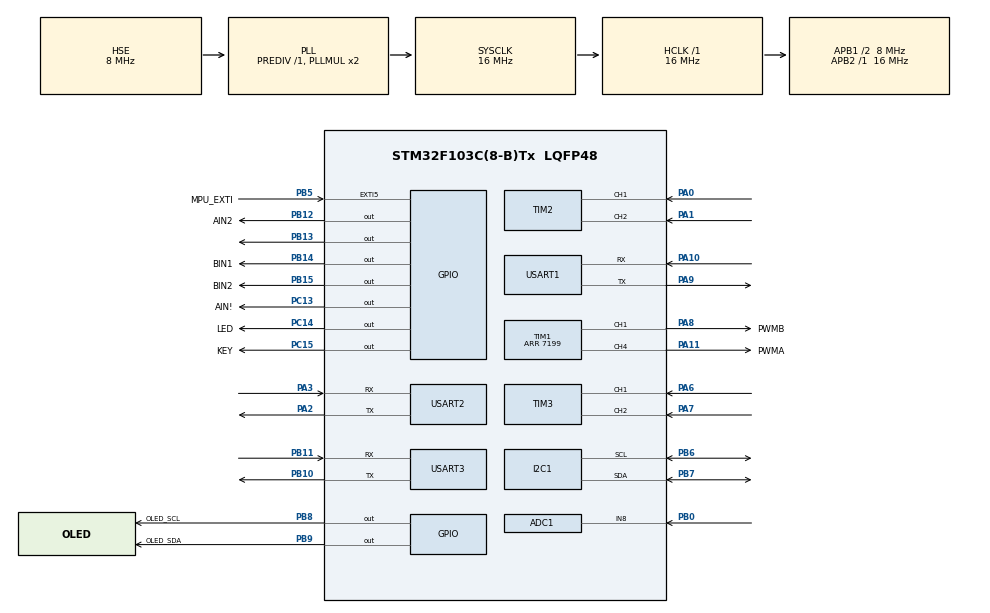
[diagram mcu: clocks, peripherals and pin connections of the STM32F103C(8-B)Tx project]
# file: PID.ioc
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ADC1.Channel-0\#ChannelRegularConversion=ADC_CHANNEL_8
ADC1.NbrOfConversionFlag=1
ADC1.Rank-0\#ChannelRegularConversion=1
ADC1.SamplingTime-0\#ChannelRegularConversion=ADC_SAMPLETIME_1CYCLE_5
ADC1.master=1
Mcu.Family=STM32F1
Mcu.Name=STM32F103C(8-B)Tx
Mcu.Package=LQFP48
NVIC.PriorityGroup=NVIC_PRIORITYGROUP_4
NVIC.USART2_IRQn=true\:0\:0\:false\:false\:true\:true\:true
PA0-WKUP.Signal=S_TIM2_CH1_ETR
PA1.Signal=S_TIM2_CH2
PA10.Mode=Asynchronous
PA10.Signal=USART1_RX
PA11.GPIO_Label=PWMA
PA11.Signal=S_TIM1_CH4
PA2.Mode=Asynchronous
PA2.Signal=USART2_TX
PA3.Mode=Asynchronous
PA3.Signal=USART2_RX
PA6.Signal=S_TIM3_CH1
PA7.Signal=S_TIM3_CH2
PA8.GPIO_Label=PWMB
PA8.Signal=S_TIM1_CH1
PA9.Mode=Asynchronous
PA9.Signal=USART1_TX
PB0.Signal=ADCx_IN8
PB10.Mode=Asynchronous
PB10.Signal=USART3_TX
PB11.Mode=Asynchronous
PB11.Signal=USART3_RX
PB12.GPIO_Label=AIN2
PB12.Signal=GPIO_Output
PB13.Signal=GPIO_Output
PB14.GPIO_Label=BIN1
PB14.Signal=GPIO_Output
PB15.GPIO_Label=BIN2
PB15.Signal=GPIO_Output
PB5.GPIO_Label=MPU_EXTI
PB5.Signal=GPXTI5
PB6.Mode=I2C
PB6.Signal=I2C1_SCL
PB7.Mode=I2C
PB7.Signal=I2C1_SDA
PB8.GPIO_Label=OLED_SCL
PB8.Signal=GPIO_Output
PB9.GPIO_Label=OLED_SDA
PB9.Signal=GPIO_Output
PC13-TAMPER-RTC.GPIO_Label=AIN\!
PC13-TAMPER-RTC.Signal=GPIO_Output
PC14-OSC32_IN.GPIO_Label=LED
PC14-OSC32_IN.Signal=GPIO_Output
PC15-OSC32_OUT.GPIO_Label=KEY
PC15-OSC32_OUT.Signal=GPIO_Output
PD0-OSC_IN.Mode=HSE-External-Oscillator
PD0-OSC_IN.Signal=RCC_OSC_IN
PD1-OSC_OUT.Mode=HSE-External-Oscillator
PD1-OSC_OUT.Signal=RCC_OSC_OUT
ProjectManager.HeapSize=0x200
ProjectManager.StackSize=0x400
ProjectManager.TargetToolchain=MDK-ARM V5.32
RCC.AHBFreq_Value=16000000
RCC.APB1CLKDivider=RCC_HCLK_DIV2
RCC.APB1Freq_Value=8000000
RCC.APB1TimFreq_Value=16000000
RCC.APB2Freq_Value=16000000
RCC.APB2TimFreq_Value=16000000
RCC.HCLKFreq_Value=16000000
RCC.PLLSourceVirtual=RCC_PLLSOURCE_HSE
RCC.SYSCLKFreq_VALUE=16000000
RCC.SYSCLKSource=RCC_SYSCLKSOURCE_PLLCLK
RCC.USBFreq_Value=16000000
SH.ADCx_IN8.0=ADC1_IN8,IN8
SH.S_TIM1_CH1.0=TIM1_CH1,PWM Generation1 CH1
SH.S_TIM1_CH4.0=TIM1_CH4,PWM Generation4 CH4
SH.S_TIM2_CH1_ETR.0=TIM2_CH1,Encoder_Interface
SH.S_TIM2_CH2.0=TIM2_CH2,Encoder_Interface
SH.S_TIM3_CH1.0=TIM3_CH1,Encoder_Interface
SH.S_TIM3_CH2.0=TIM3_CH2,Encoder_Interface
TIM1.Channel-PWM\ Generation1\ CH1=TIM_CHANNEL_1
TIM1.Channel-PWM\ Generation4\ CH4=TIM_CHANNEL_4
TIM1.Period=7199
TIM2.IC1Filter=10
TIM2.IC2Filter=10
USART1.VirtualMode=VM_ASYNC
USART2.VirtualMode=VM_ASYNC
USART3.VirtualMode=VM_ASYNC
VP_SYS_VS_ND.Mode=No_Debug
board=custom

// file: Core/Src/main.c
/* USER CODE BEGIN Header */
/**
  ******************************************************************************
  * @file           : main.c
  * @brief          : Main program body
  ******************************************************************************
  * @attention
  *
  * Copyright (c) 2023 STMicroelectronics.
  * All rights reserved.
  *
  * This software is licensed under terms that can be found in the LICENSE file
  * in the root directory of this software component.
  * If no LICENSE file comes with this software, it is provided AS-IS.
  *
  ******************************************************************************
  */
/* USER CODE END Header */
#include "main.h"

/* USER CODE BEGIN PV */
float BatteryVoltage;  															 //电池电压采样相关的变量
float pitch,roll,yaw; 								  			 //欧拉角(姿态角)
short aacx,aacy,aacz;													 //加速度传感器原始数据
short gyrox,gyroy,gyroz;											 //陀螺仪原始数据
int   Encoder_Left,Encoder_Right;         		 //左右编码器的脉冲计数
int 	Moto1=0,Moto2=0;												 //计算出来的最终赋给电机的PWM
int PWM_MAX=7200,PWM_MIN=-7200;	//PWM限幅变量
int Velocity=0,Turn=0;
uint8_t Mode=98;
int Uart_Receive=0;
uint8_t key=0;								 									 //按键的键值

int Balance_Pwm,Velocity_Pwm,Turn_Pwm;

float Mechanical_angle=0;

float balance_UP_KP=300; 	 // 小车直立环PD参数
float balance_UP_KD=1.9;

float velocity_KP=90;     // 小车速度环PI参数
float velocity_KI=0.45;

/* Private macro -------------------------------------------------------------*/
/* USER CODE BEGIN PM */

/* USER CODE END PM */

/* Private variables ---------------------------------------------------------*/

/* USER CODE BEGIN PV */
/**
  * 函数功能: 重定向c库函数printf到DEBUG_USARTx
  * 输入参数: 无
  * 返 回 值: 无
  * 说    明：如果程序上电不运行注意勾选魔术棒->Target-> Use Micro LIB
  */
int fputc(int ch, FILE *f)
{
  HAL_UART_Transmit(&huart1, (uint8_t *)&ch, 1, 0xffff);
  return ch;
}

/**
  * 函数功能: 重定向c库函数getchar,scanf到DEBUG_USARTx
  * 输入参数: 无
  * 返 回 值: 无
  * 说    明：如果程序上电不运行注意勾选魔术棒->Target-> Use Micro LIB
  */
int fgetc(FILE *f)
{
  uint8_t ch = 0;
  HAL_UART_Receive(&huart1, &ch, 1, 0xffff);
  return ch;
}

/* USER CODE END PV */

void SystemClock_Config(void);

int main(void)
{

  /* MCU Configuration--------------------------------------------------------*/

  /* Reset of all peripherals, Initializes the Flash interface and the Systick. */
  HAL_Init();

  /* Configure the system clock */
  SystemClock_Config();

  /* Initialize all configured peripherals */
  MX_GPIO_Init();
  MX_I2C1_Init();
  MX_TIM1_Init();
  MX_TIM2_Init();
  MX_TIM3_Init();
  MX_USART1_UART_Init();
  MX_USART2_UART_Init();
  MX_USART3_UART_Init();
  MX_ADC1_Init();
  /* USER CODE BEGIN 2 */
//	HAL_TIM_Base_Start_IT(&htim1);
//	HAL_TIM_Base_Start_IT(&htim2);
//	HAL_TIM_Base_Start_IT(&htim3);

	Motor_Start();
	Encoder_Start();

	SSD1306_Init();
  /* USER CODE END 2 */
  	HAL_Delay(100);
	OLED_Clear();
	OLED_Show_Str();
  /* Infinite loop */
  while (1)
  {

  }
}

void SystemClock_Config(void)
{
  RCC_OscInitTypeDef RCC_OscInitStruct = {0};
  RCC_ClkInitTypeDef RCC_ClkInitStruct = {0};
  RCC_PeriphCLKInitTypeDef PeriphClkInit = {0};

  /** Initializes the RCC Oscillators according to the specified parameters
  * in the RCC_OscInitTypeDef structure.
  */
  RCC_OscInitStruct.OscillatorType = RCC_OSCILLATORTYPE_HSE;
  RCC_OscInitStruct.HSEState = RCC_HSE_ON;
  RCC_OscInitStruct.HSEPredivValue = RCC_HSE_PREDIV_DIV1;
  RCC_OscInitStruct.HSIState = RCC_HSI_ON;
  RCC_OscInitStruct.PLL.PLLState = RCC_PLL_ON;
  RCC_OscInitStruct.PLL.PLLSource = RCC_PLLSOURCE_HSE;
  RCC_OscInitStruct.PLL.PLLMUL = RCC_PLL_MUL2;
  if (HAL_RCC_OscConfig(&RCC_OscInitStruct) != HAL_OK)
  {
    Error_Handler();
  }
  /** Initializes the CPU, AHB and APB buses clocks
  */
  RCC_ClkInitStruct.ClockType = RCC_CLOCKTYPE_HCLK|RCC_CLOCKTYPE_SYSCLK
                              |RCC_CLOCKTYPE_PCLK1|RCC_CLOCKTYPE_PCLK2;
  RCC_ClkInitStruct.SYSCLKSource = RCC_SYSCLKSOURCE_PLLCLK;
  RCC_ClkInitStruct.AHBCLKDivider = RCC_SYSCLK_DIV1;
  RCC_ClkInitStruct.APB1CLKDivider = RCC_HCLK_DIV2;
  RCC_ClkInitStruct.APB2CLKDivider = RCC_HCLK_DIV1;

  if (HAL_RCC_ClockConfig(&RCC_ClkInitStruct, FLASH_LATENCY_0) != HAL_OK)
  {
    Error_Handler();
  }
  PeriphClkInit.PeriphClockSelection = RCC_PERIPHCLK_ADC;
  PeriphClkInit.AdcClockSelection = RCC_ADCPCLK2_DIV2;
  if (HAL_RCCEx_PeriphCLKConfig(&PeriphClkInit) != HAL_OK)
  {
    Error_Handler();
  }
}

void Error_Handler(void)
{
  __disable_irq();
  while (1)
  {
  }
}
